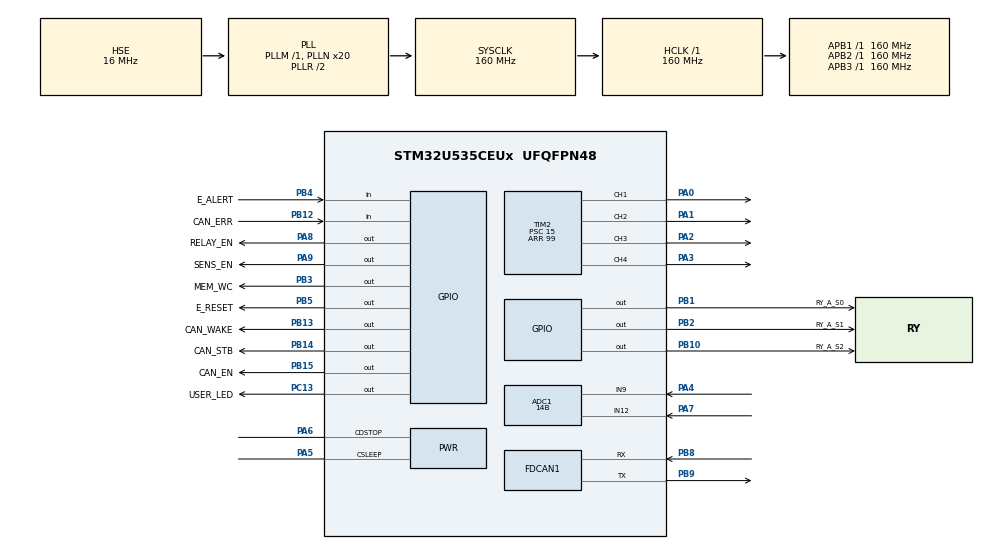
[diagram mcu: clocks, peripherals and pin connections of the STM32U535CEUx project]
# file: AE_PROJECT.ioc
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ADC1.Channel-1\#ChannelRegularConversion=ADC_CHANNEL_9
ADC1.ClockPrescaler=ADC_CLOCK_ASYNC_DIV2
ADC1.ContinuousConvMode=DISABLE
ADC1.EOCSelection=ADC_EOC_SINGLE_CONV
ADC1.EnableRegularConversion=ENABLE
ADC1.MonitoredBy-1\#ChannelRegularConversion=__NULL
ADC1.NbrOfConversion=1
ADC1.NbrOfConversionFlag=1
ADC1.OffsetNumber-1\#ChannelRegularConversion=ADC_OFFSET_NONE
ADC1.Overrun=ADC_OVR_DATA_PRESERVED
ADC1.Rank-1\#ChannelRegularConversion=1
ADC1.Resolution=ADC_RESOLUTION_14B
ADC1.SamplingTime-1\#ChannelRegularConversion=ADC_SAMPLETIME_5CYCLE
ADC1.TriggerFrequencyMode=ADC_TRIGGER_FREQ_HIGH
ADC1.master=1
ADC4.Channel-0\#ChannelRegularConversion=ADC_CHANNEL_9
ADC4.ClockPrescaler=ADC_CLOCK_ASYNC_DIV2
ADC4.ContinuousConvMode=DISABLE
ADC4.NbrOfConversion=1
ADC4.NbrOfConversionFlag=1
ADC4.OffsetNumber-0\#ChannelRegularConversion=ADC_OFFSET_NONE
ADC4.Rank-0\#ChannelRegularConversion=1
ADC4.RankArg-0\#ChannelRegularConversion=ADC4_REGULAR_RANK_1
ADC4.SamplingTime-0\#ChannelRegularConversion=ADC4_SAMPLINGTIME_COMMON_1
ADC4.SamplingTimeCommon1=ADC4_SAMPLETIME_39CYCLES_5
ADC4.SamplingTimeCommon2=ADC4_SAMPLETIME_39CYCLES_5
ADC4.SelectedChannel=ADC_CHANNEL_9
ADC4.TriggerFrequencyMode=ADC_TRIGGER_FREQ_HIGH
CORTEX_M33_NS.userName=CORTEX_M33
FDCAN1.CalculateBaudRateNominal=3333333
FDCAN1.CalculateTimeBitNominal=300
FDCAN1.CalculateTimeQuantumNominal=100.0
Mcu.Family=STM32U5
Mcu.Name=STM32U535CEUx
Mcu.Package=UFQFPN48
NVIC.ADC1_IRQn=true\:10\:0\:true\:false\:true\:true\:true\:true
NVIC.PriorityGroup=NVIC_PRIORITYGROUP_4
NVIC.TIM7_IRQn=true\:11\:0\:true\:false\:true\:true\:true\:true
PA0.Signal=S_TIM2_CH1
PA1.Signal=S_TIM2_CH2
PA13\ (JTMS/SWDIO).Mode=Serial_Wire
PA13\ (JTMS/SWDIO).Signal=DEBUG_JTMS-SWDIO
PA14\ (JTCK/SWCLK).Mode=Serial_Wire
PA14\ (JTCK/SWCLK).Signal=DEBUG_JTCK-SWCLK
PA2.Signal=S_TIM2_CH3
PA3.Signal=S_TIM2_CH4
PA4.Signal=SharedAnalog_PA4
PA5.Mode=CSLEEP
PA5.Signal=PWR_CSLEEP
PA6.Mode=CDSTOP
PA6.Signal=PWR_CDSTOP
PA7.Mode=IN12-Single-Ended
PA7.Signal=ADC1_IN12
PA8.GPIO_Label=RELAY_EN
PA8.Signal=GPIO_Output
PA9.GPIO_Label=SENS_EN
PA9.Signal=GPIO_Output
PB1.GPIO_Label=RY_A_S0
PB1.Signal=GPIO_Output
PB10.GPIO_Label=RY_A_S2
PB10.Signal=GPIO_Output
PB12.GPIO_Label=CAN_ERR
PB12.Signal=GPIO_Input
PB13.GPIO_Label=CAN_WAKE
PB13.Signal=GPIO_Output
PB14.GPIO_Label=CAN_STB
PB14.Signal=GPIO_Output
PB15.GPIO_Label=CAN_EN
PB15.Signal=GPIO_Output
PB2.GPIO_Label=RY_A_S1
PB2.Signal=GPIO_Output
PB3\ (JTDO/TRACESWO).GPIO_Label=MEM_WC
PB3\ (JTDO/TRACESWO).Signal=GPIO_Output
PB4\ (NJTRST).GPIO_Label=E_ALERT
PB4\ (NJTRST).Signal=GPIO_Input
PB5.GPIO_Label=E_RESET
PB5.Signal=GPIO_Output
PB6.Signal=I2C1_SCL
PB7.Signal=I2C1_SDA
PB8.Mode=FDCAN_Activate
PB8.Signal=FDCAN1_RX
PB9.Mode=FDCAN_Activate
PB9.Signal=FDCAN1_TX
PC13.GPIO_Label=USER_LED
PC13.Signal=GPIO_Output
PC14-OSC32_IN\ (PC14).Mode=LSE-External-Oscillator
PC14-OSC32_IN\ (PC14).Signal=RCC_OSC32_IN
PC15-OSC32_OUT\ (PC15).Mode=LSE-External-Oscillator
PC15-OSC32_OUT\ (PC15).Signal=RCC_OSC32_OUT
PH0-OSC_IN\ (PH0).Mode=HSE-External-Oscillator
PH0-OSC_IN\ (PH0).Signal=RCC_OSC_IN
PH1-OSC_OUT\ (PH1).Mode=HSE-External-Oscillator
PH1-OSC_OUT\ (PH1).Signal=RCC_OSC_OUT
ProjectManager.HeapSize=0x200
ProjectManager.StackSize=0x400
ProjectManager.TargetToolchain=STM32CubeIDE
RCC.ADCCLockSelection=RCC_ADCDACCLKSOURCE_HCLK
RCC.ADCFreq_Value=160000000
RCC.AHBFreq_Value=160000000
RCC.APB1Freq_Value=160000000
RCC.APB1TimFreq_Value=160000000
RCC.APB2Freq_Value=160000000
RCC.APB2TimFreq_Value=160000000
RCC.APB3Freq_Value=160000000
RCC.CortexFreq_Value=160000000
RCC.DACCLockSelectionVirtual=RCC_DAC1CLKSOURCE_LSI
RCC.DACCLockSelectionVirtualString=RCC_DAC1CLKSOURCE_LSI
RCC.EPOD_VALUE=16000000
RCC.HCLKFreq_Value=160000000
RCC.HSE_VALUE=16000000
RCC.HSI48_VALUE=48000000
RCC.HSI_VALUE=16000000
RCC.LSIDIV_VALUE=32000
RCC.MSI_VALUE=4000000
RCC.PLL2N=20
RCC.PLL2Source=RCC_PLLSOURCE_HSI
RCC.PLL3Source=RCC_PLLSOURCE_HSI
RCC.PLLN=20
RCC.PLLSourceVirtual=RCC_PLLSOURCE_HSE
RCC.SYSCLKFreq_VALUE=160000000
RCC.SYSCLKSource=RCC_SYSCLKSOURCE_PLLCLK
RCC.USBFreq_Value=48000000
RCC.VCOOutputFreq_Value=320000000
SH.S_TIM2_CH1.0=TIM2_CH1,PWM Generation1 CH1
SH.S_TIM2_CH2.0=TIM2_CH2,PWM Generation2 CH2
SH.S_TIM2_CH3.0=TIM2_CH3,PWM Generation3 CH3
SH.S_TIM2_CH4.0=TIM2_CH4,PWM Generation4 CH4
SH.SharedAnalog_PA4.0=ADC1_IN9,IN9-Single-Ended
SH.SharedAnalog_PA4.1=ADC4_IN9,IN9
TIM2.AutoReloadPreload=TIM_AUTORELOAD_PRELOAD_ENABLE
TIM2.Channel-PWM\ Generation1\ CH1=TIM_CHANNEL_1
TIM2.Channel-PWM\ Generation2\ CH2=TIM_CHANNEL_2
TIM2.Channel-PWM\ Generation3\ CH3=TIM_CHANNEL_3
TIM2.Channel-PWM\ Generation4\ CH4=TIM_CHANNEL_4
TIM2.PeriodNoDither=99
TIM2.Prescaler=15
TIM2.PulseNoDither_1=500
TIM7.AutoReloadPreload=TIM_AUTORELOAD_PRELOAD_ENABLE
TIM7.PeriodNoDither=999
TIM7.Prescaler=249
VP_ICACHE_VS_ICACHE.Mode=DirectMappedCache
VP_LPBAMQUEUE_VS_QUEUE.Mode=QUEUEMODE
VP_LPBAM_VS_SIG1.Mode=SmartRun
VP_LPBAM_VS_SIG4.Mode=LPDMA1
VP_MEMORYMAP_VS_MEMORYMAP.Mode=CurAppReg
VP_PWR_VS_SECSignals.Mode=Security/Privilege
VP_PWR_Vdda.Mode=isolationVdda
VP_TIM2_VS_ClockSourceINT.Mode=Internal
VP_TIM7_VS_ClockSourceINT.Mode=Enable_Timer
board=custom

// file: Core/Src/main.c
/* USER CODE BEGIN Header */
/**
  ******************************************************************************
  * @file           : main.c
  * @brief          : Main program body
  ******************************************************************************
  * @attention
  *
  * Copyright (c) 2024 STMicroelectronics.
  * All rights reserved.
  *
  * This software is licensed under terms that can be found in the LICENSE file
  * in the root directory of this software component.
  * If no LICENSE file comes with this software, it is provided AS-IS.
  *
  ******************************************************************************
  */
/* USER CODE END Header */
#include "main.h"
#include "adc.h"
#include "fdcan.h"
#include "icache.h"
#include "memorymap.h"
#include "tim.h"
#include "gpio.h"

/* USER CODE BEGIN PV */

uint16_t adcData1[16];
float adcV1[16];

uint16_t adcDataRegister1 = 0;
uint16_t adcDataRegister4 = 0;

float adcVoltage1 = 0;
float adcVoltage4 = 0;

float coil1current1 = 0;
float coil1current4 = 0;

/* USER CODE END PV */

void SystemClock_Config(void);
/* USER CODE BEGIN PFP */

__FORCE_INLINE void HW_RELAY_REG_ON(void);
__FORCE_INLINE void HW_RELAY_REG_OFF(void);

__FORCE_INLINE void HW_SENSORS_REG_ON(void);
__FORCE_INLINE void HW_SENSORS_REG_OFF(void);

__FORCE_INLINE void HW_MUX_CH_SET(uint8_t chNumber);

/* USER CODE END PFP */

int main(void)
{

  /* MCU Configuration--------------------------------------------------------*/

  /* Reset of all peripherals, Initializes the Flash interface and the Systick. */
  HAL_Init();

  /* Configure the system clock */
  SystemClock_Config();

  /* Initialize all configured peripherals */
  MX_GPIO_Init();
  MX_ICACHE_Init();
  MX_TIM2_Init();
  MX_ADC1_Init();
  MX_ADC4_Init();
  MX_FDCAN1_Init();
  MX_TIM7_Init();
  /* USER CODE BEGIN 2 */

  HAL_PWREx_EnableVddA();

  HW_SENSORS_REG_ON();
  //HW_RELAY_REG_ON();

  HAL_TIM_PWM_Start(&htim2,  TIM_CHANNEL_1);
  HAL_TIM_PWM_Start(&htim2,  TIM_CHANNEL_2);
  HAL_TIM_PWM_Start(&htim2,  TIM_CHANNEL_3);
  HAL_TIM_PWM_Start(&htim2,  TIM_CHANNEL_4);

  HAL_TIM_Base_Start_IT(&htim7);

  HW_MUX_CH_SET(0);

  //HAL_ADC_Start_IT(&hadc1);

  /* USER CODE END 2 */

  /* Infinite loop */
  while (1)
  {

    /* USER CODE BEGIN 3 */

	  static uint32_t millisLedBlink = 0;
	  if(millis >= millisLedBlink + 100)
	  {
		  millisLedBlink = millis;
		  HAL_GPIO_TogglePin(USER_LED_GPIO_Port, USER_LED_Pin);

		  //HAL_ADC_Start_IT(&hadc1);

		  //static uint8_t toggle = 0;
		  static uint16_t pippoCounter = 0;

		  if(pippoCounter < 1)
			  pippoCounter = 100;
		  else
			  pippoCounter-=1;

		  __HAL_TIM_SET_COMPARE(&htim2, TIM_CHANNEL_1, pippoCounter);
		  __HAL_TIM_SET_COMPARE(&htim2, TIM_CHANNEL_2, pippoCounter);
		  __HAL_TIM_SET_COMPARE(&htim2, TIM_CHANNEL_3, pippoCounter);
		  __HAL_TIM_SET_COMPARE(&htim2, TIM_CHANNEL_4, pippoCounter);

//		  if(toggle == 0)
//		  {
//			  __HAL_TIM_SET_COMPARE(&htim2, TIM_CHANNEL_1, 800);
//			  toggle = 1;
//		  }
//		  else
//		  {
//			  __HAL_TIM_SET_COMPARE(&htim2, TIM_CHANNEL_1, 0);
//			  toggle = 0;
//		  }
	  }

	  //HAL_Delay(1000);

  }
  /* USER CODE END 3 */
}

void SystemClock_Config(void)
{
  RCC_OscInitTypeDef RCC_OscInitStruct = {0};
  RCC_ClkInitTypeDef RCC_ClkInitStruct = {0};

  /** Configure the main internal regulator output voltage
  */
  if (HAL_PWREx_ControlVoltageScaling(PWR_REGULATOR_VOLTAGE_SCALE1) != HAL_OK)
  {
    Error_Handler();
  }

  /** Initializes the CPU, AHB and APB buses clocks
  */
  RCC_OscInitStruct.OscillatorType = RCC_OSCILLATORTYPE_HSE;
  RCC_OscInitStruct.HSEState = RCC_HSE_ON;
  RCC_OscInitStruct.PLL.PLLState = RCC_PLL_ON;
  RCC_OscInitStruct.PLL.PLLSource = RCC_PLLSOURCE_HSE;
  RCC_OscInitStruct.PLL.PLLMBOOST = RCC_PLLMBOOST_DIV1;
  RCC_OscInitStruct.PLL.PLLM = 1;
  RCC_OscInitStruct.PLL.PLLN = 20;
  RCC_OscInitStruct.PLL.PLLP = 2;
  RCC_OscInitStruct.PLL.PLLQ = 2;
  RCC_OscInitStruct.PLL.PLLR = 2;
  RCC_OscInitStruct.PLL.PLLRGE = RCC_PLLVCIRANGE_1;
  RCC_OscInitStruct.PLL.PLLFRACN = 0;
  if (HAL_RCC_OscConfig(&RCC_OscInitStruct) != HAL_OK)
  {
    Error_Handler();
  }

  /** Initializes the CPU, AHB and APB buses clocks
  */
  RCC_ClkInitStruct.ClockType = RCC_CLOCKTYPE_HCLK|RCC_CLOCKTYPE_SYSCLK
                              |RCC_CLOCKTYPE_PCLK1|RCC_CLOCKTYPE_PCLK2
                              |RCC_CLOCKTYPE_PCLK3;
  RCC_ClkInitStruct.SYSCLKSource = RCC_SYSCLKSOURCE_PLLCLK;
  RCC_ClkInitStruct.AHBCLKDivider = RCC_SYSCLK_DIV1;
  RCC_ClkInitStruct.APB1CLKDivider = RCC_HCLK_DIV1;
  RCC_ClkInitStruct.APB2CLKDivider = RCC_HCLK_DIV1;
  RCC_ClkInitStruct.APB3CLKDivider = RCC_HCLK_DIV1;

  if (HAL_RCC_ClockConfig(&RCC_ClkInitStruct, FLASH_LATENCY_4) != HAL_OK)
  {
    Error_Handler();
  }
}

/* USER CODE BEGIN 4 */

/**
  * @brief  This function is used to turn ON the REG4 which powers the RELAYS.
  * @retval None
  */
__FORCE_INLINE void HW_RELAY_REG_ON(void)
{
	HAL_GPIO_WritePin(RELAY_EN_GPIO_Port, RELAY_EN_Pin, 1);
}

/**
  * @brief  This function is used to turn OFF the REG4 which powers the RELAYS.
  * @retval None
  */
__FORCE_INLINE void HW_RELAY_REG_OFF(void)
{
	HAL_GPIO_WritePin(RELAY_EN_GPIO_Port, RELAY_EN_Pin, 0);
}

/**
  * @brief  This function is used to turn ON the REG3 which powers the ANALOG SENSORS.
  * @retval None
  */
__FORCE_INLINE void HW_SENSORS_REG_ON(void)
{
	HAL_GPIO_WritePin(SENS_EN_GPIO_Port, SENS_EN_Pin, 1);
}

/**
  * @brief  This function is used to turn OFF the REG3 which powers the ANALOG SENSORS.
  * @retval None
  */
__FORCE_INLINE void HW_SENSORS_REG_OFF(void)
{
	HAL_GPIO_WritePin(SENS_EN_GPIO_Port, SENS_EN_Pin, 0);
}

/**
  * @brief  This function is used to SELECT the channel connected to the ANALOG MUX.
  * @retval None
  */
__FORCE_INLINE void HW_MUX_CH_SET(uint8_t chNumber)
{
	if(chNumber > 7)
		chNumber = 7;

	HAL_GPIO_WritePin(RY_A_S0_GPIO_Port, RY_A_S0_Pin, readBit(chNumber, 0));
	HAL_GPIO_WritePin(RY_A_S1_GPIO_Port, RY_A_S1_Pin, readBit(chNumber, 1));
	HAL_GPIO_WritePin(RY_A_S2_GPIO_Port, RY_A_S2_Pin, readBit(chNumber, 2));
}

/**
  * @brief  Period elapsed callback in non-blocking mode
  * @param  htim TIM handle
  * @retval None
  */
void HAL_TIM_PeriodElapsedCallback(TIM_HandleTypeDef *htim)
{
	if(htim->Instance == TIM7)
	{
		HAL_ADC_Start_IT(&hadc1);
	}
}

static uint8_t channelCounter = 0;

/**
  * @brief  Conversion complete callback in non-blocking mode.
  * @param hadc ADC handle
  * @retval None
  */
void HAL_ADC_ConvCpltCallback(ADC_HandleTypeDef *hadc)
{
	if(hadc->Instance == ADC1)
	{
		static uint8_t initFlag = 0;

		static ADC_ChannelConfTypeDef sConfig = {0};

		if(initFlag == 0)
		{
			sConfig.Channel = ADC_CHANNEL_9;
			sConfig.Rank = ADC_REGULAR_RANK_1;
			sConfig.SamplingTime = ADC_SAMPLETIME_5CYCLES;
			sConfig.SingleDiff = ADC_SINGLE_ENDED;
			sConfig.OffsetNumber = ADC_OFFSET_NONE;
			sConfig.Offset = 0;

			initFlag = 1;
		}

		//static uint8_t channelCounter = 0;

		adcData1[channelCounter] = HAL_ADC_GetValue(&hadc1);
		adcV1[channelCounter] = map(adcData1[channelCounter], 0, 16383, 0, 3.291);

		/* Configure MCU ADC Channel BEGIN */

		if(sConfig.Channel == ADC_CHANNEL_9)
			sConfig.Channel = ADC_CHANNEL_12;
		else
			sConfig.Channel = ADC_CHANNEL_9;

		HAL_ADC_ConfigChannel(&hadc1, &sConfig);

		/* Configure MCU ADC Channel END */

		if(channelCounter >= 15)
			channelCounter = 0;
		else
			channelCounter++;

		HW_MUX_CH_SET((channelCounter/2));
	}

}

/* USER CODE END 4 */

void Error_Handler(void)
{
  __disable_irq();
  while (1)
  {
  }
}
